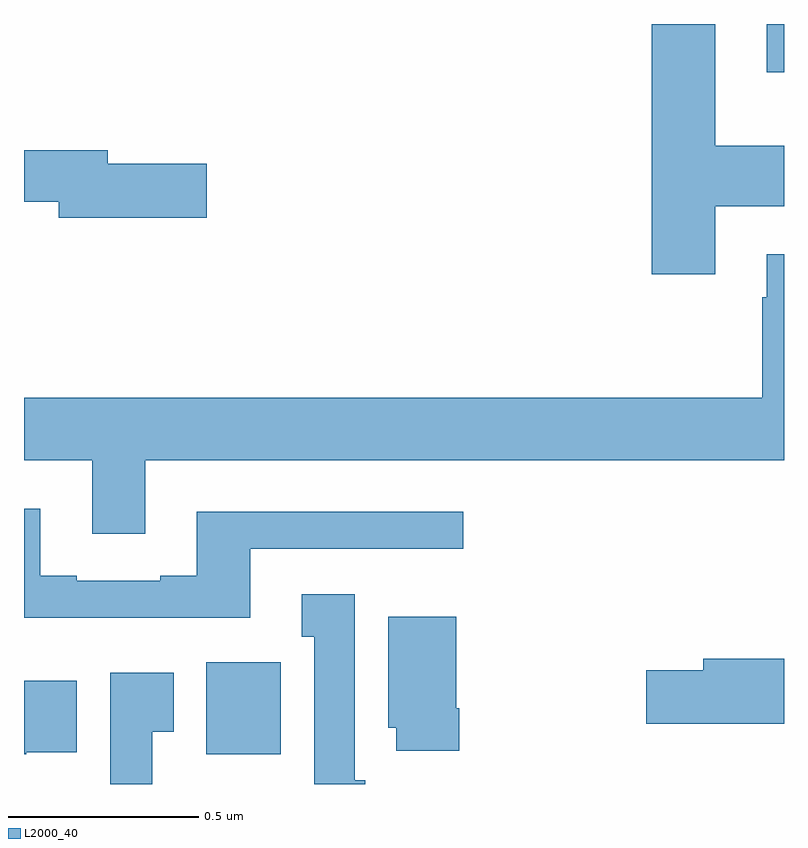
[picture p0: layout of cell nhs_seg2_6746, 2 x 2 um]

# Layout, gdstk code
import gdstk
lib = gdstk.Library(unit=1e-6, precision=1e-09)
def R(c, l, rs):  # rectangles x0, y0, x1, y1
    for r in rs: c.add(gdstk.rectangle(r[:2], r[2:], *l))
def P(c, l, *ps):  # polygons
    for p in ps: c.add(gdstk.Polygon(p, *l))
L2000_40 = (2000, 40)

nhs_seg2_6746 = lib.new_cell('nhs_seg2_6746')
R(nhs_seg2_6746, L2000_40, [(195.479,630.878,195.676,631.12), (196.955,632.673,197,632.8)])
P(nhs_seg2_6746, L2000_40, [(196.819,632.321),(197,632.321),(197,632.479),(196.819,632.479),(196.819,632.8),(196.652,632.8),(196.652,632.142),(196.819,632.142)],
  [(195.481,632.432),(195.22,632.432),(195.22,632.468),(195,632.468),(195,632.332),(195.092,632.332),(195.092,632.29),(195.481,632.29)],
  [(195.319,631.652),(197,631.652),(197,632.194),(196.955,632.194),(196.955,632.081),(196.943,632.081),(196.943,631.816),(195,631.816),(195,631.652),(195.179,631.652),(195.179,631.458),(195.319,631.458)],
  [(195.595,631.419),(196.156,631.419),(196.156,631.516),(195.455,631.516),(195.455,631.348),(195.359,631.348),(195.359,631.335),(195.139,631.335),(195.139,631.348),(195.043,631.348),(195.043,631.525),(195,631.525),(195,631.238),(195.595,631.238)],
  [(195.898,630.81),(195.871,630.81),(195.871,631.3),(195.731,631.3),(195.731,631.187),(195.764,631.187),(195.764,630.8),(195.898,630.8)],
  [(196.146,631),(196.138,631),(196.138,631.24),(195.959,631.24),(195.959,630.948),(195.98,630.948),(195.98,630.888),(196.146,630.888)],
  [(197,631.13),(196.787,631.13),(196.787,631.1),(196.638,631.1),(196.638,630.958),(197,630.958)],
  [(195.337,630.937),(195.394,630.937),(195.394,631.093),(195.227,631.093),(195.227,630.8),(195.337,630.8)],
  [(195.006,630.884),(195.139,630.884),(195.139,631.072),(195,631.072),(195,630.878),(195.006,630.878)])

lib.write_gds('nhs_seg2_6746.gds')
